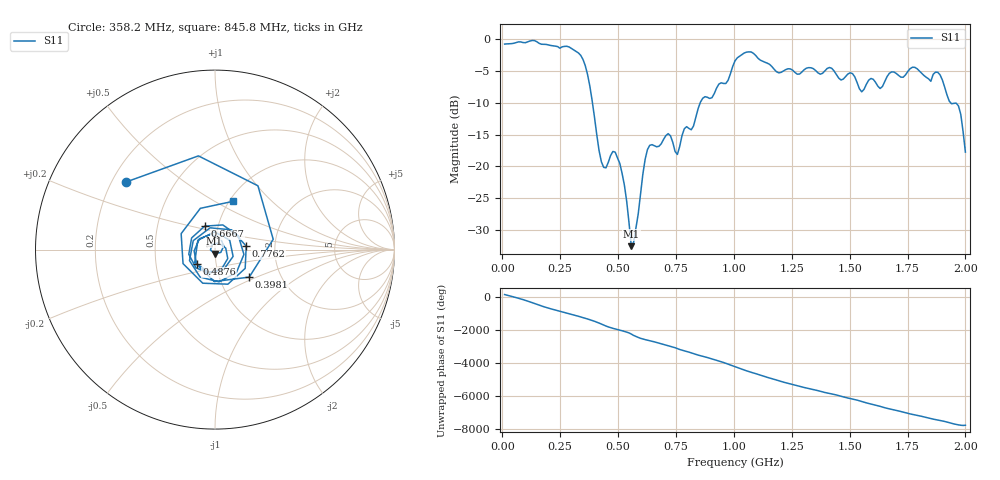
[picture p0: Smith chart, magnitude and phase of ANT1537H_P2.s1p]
!Created with skrf (http://scikit-rf.org).
# Hz S RI R 50.0
!freq ReS11 ImS11
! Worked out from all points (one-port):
!   201 points, 10 MHz to 2 GHz, reference 50 ohm
!   lowest |S11| = -32.6 dB at 557.2 MHz (marker M1), VSWR 1.05, Z = 49.7 - j2.33 ohm
!   |S11| at or under -10 dB: 389.5 MHz to 854.5 MHz (465 MHz wide, 74.8 % of centre); 1.937 GHz to end of sweep
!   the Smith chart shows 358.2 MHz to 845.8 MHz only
!   S11 on the Smith chart (normalised r, x): 358.2 MHz: 0.26, +0.32; 398.1 MHz: 1.39, -0.45; 487.6 MHz: 0.80, -0.13; 666.7 MHz: 0.86, +0.23; 776.1 MHz: 1.42, +0.06; 845.8 MHz: 1.04, +0.61
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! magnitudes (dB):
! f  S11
! 10 MHz  -0.7
! 258.8 MHz  -1.2
! 358.2 MHz  -4.1
! 398.1 MHz  -12.2
! 437.9 MHz  -20.1
! 487.6 MHz  -17.7
! 507.5 MHz  -19.5
! 537.4 MHz  -25.5
! 557.2 MHz  -32.6
! 567.2 MHz  -31.9
! 626.9 MHz  -17.3
! 666.7 MHz  -16.9
! 716.5 MHz  -14.8
! 756.2 MHz  -18.1
! 776.1 MHz  -15.1
! 825.9 MHz  -13.6
! 845.8 MHz  -10.9
! 965.2 MHz  -6.9
! 1.005 GHz  -3.4
! 1.075 GHz  -2.0
! 1.254 GHz  -4.8
! 1.502 GHz  -5.2
! 1.552 GHz  -8.2
! 1.751 GHz  -5.0
! 1.891 GHz  -5.6
! 1.93 GHz  -9.7
! 1.97 GHz  -10.5
! 2 GHz  -17.7
